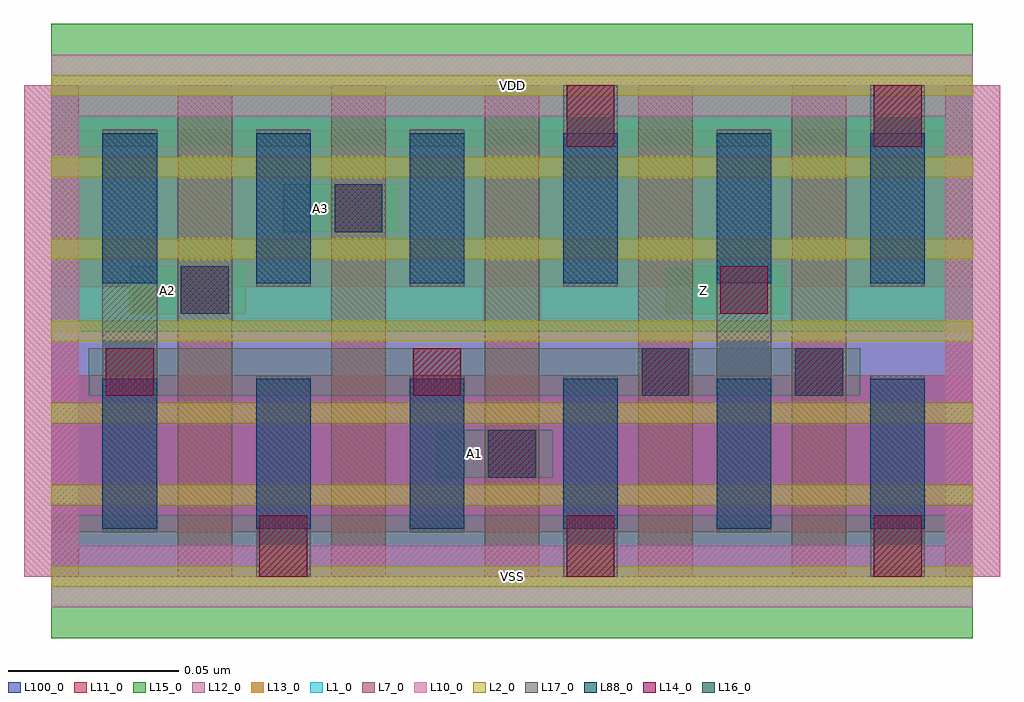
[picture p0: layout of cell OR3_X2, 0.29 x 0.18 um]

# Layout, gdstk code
import gdstk
lib = gdstk.Library(unit=1e-6, precision=1e-09)
def R(c, l, rs):  # rectangles x0, y0, x1, y1
    for r in rs: c.add(gdstk.rectangle(r[:2], r[2:], *l))
def A(c, l, x, y, w, h, nx, ny, dx, dy):  # array of equal rectangles
    R(c, l, [(x+i*dx, y+j*dy, x+i*dx+w, y+j*dy+h) for i in range(nx) for j in range(ny)])
def P(c, l, *ps):  # polygons
    for p in ps: c.add(gdstk.Polygon(p, *l))
L1_0 = (1, 0)
L2_0 = (2, 0)
L7_0 = (7, 0)
L10_0 = (10, 0)
L11_0 = (11, 0)
L12_0 = (12, 0)
L13_0 = (13, 0)
L14_0 = (14, 0)
L15_0 = (15, 0)
L16_0 = (16, 0)
L17_0 = (17, 0)
L88_0 = (88, 0)
L100_0 = (100, 0)

or3_x2 = lib.new_cell('OR3_X2')
R(or3_x2, L1_0, [(0,0.072,0.27,0.144)])
A(or3_x2, L2_0, 0, -0.003, 0.27, 0.006, 1, 7, 0, 0.024)
A(or3_x2, L7_0, -0.008, 0, 0.016, 0.144, 7, 1, 0.045, 0)
P(or3_x2, L10_0, [(0,-0.009),(0,0),(-0.008,0),(-0.008,0.135),(0.008,0.135),(0.008,0.009),(0.262,0.009),(0.262,0.135),(-0.008,0.135),(-0.008,0.144),(0,0.144),(0,0.153),(0.27,0.153),(0.27,0.144),(0.278,0.144),(0.278,0),(0.27,0),(0.27,-0.009)])
R(or3_x2, L11_0, [(0,0.013,0.27,0.059), (0,0.085,0.27,0.131)])
R(or3_x2, L12_0, [(0,0,0.27,0.072)])
R(or3_x2, L13_0, [(0,0.072,0.27,0.144)])
A(or3_x2, L14_0, 0.061, 0, 0.014, 0.018, 3, 1, 0.09, 0)
R(or3_x2, L14_0, [(0.128,0.029,0.142,0.043), (0.016,0.053,0.03,0.067), (0.106,0.053,0.12,0.067), (0.173,0.053,0.187,0.067), (0.218,0.053,0.232,0.067), (0.038,0.077,0.052,0.091), (0.196,0.077,0.21,0.091), (0.083,0.101,0.097,0.115), (0.151,0.126,0.165,0.144), (0.241,0.126,0.255,0.144)])
R(or3_x2, L15_0, [(0,-0.018,0.27,0.018), (0.113,0.029,0.147,0.043), (0.011,0.053,0.237,0.067), (0.023,0.077,0.057,0.091), (0.18,0.077,0.215,0.091), (0.068,0.101,0.102,0.115), (0,0.126,0.27,0.162)])
R(or3_x2, L16_0, [(0.128,0.029,0.142,0.043), (0.173,0.053,0.187,0.067), (0.218,0.053,0.232,0.067), (0.038,0.077,0.052,0.091), (0.083,0.101,0.097,0.115)])
A(or3_x2, L17_0, 0.06, 0, 0.016, 0.059, 3, 1, 0.09, 0)
R(or3_x2, L17_0, [(0.015,0.013,0.031,0.131), (0.105,0.013,0.121,0.059), (0.195,0.013,0.211,0.131), (0.06,0.085,0.076,0.131), (0.105,0.085,0.121,0.131), (0.15,0.085,0.166,0.144), (0.24,0.085,0.256,0.144)])
A(or3_x2, L88_0, 0.015, 0.014, 0.016, 0.044, 6, 2, 0.045, 0.072)
R(or3_x2, L100_0, [(0,0,0.27,0.144)])
or3_x2.add(gdstk.Label('A3', (0.079,0.108), layer=15, texttype=251))
or3_x2.add(gdstk.Label('VSS', (0.135,0), layer=15, texttype=251))
or3_x2.add(gdstk.Label('VDD', (0.135,0.144), layer=15, texttype=251))
or3_x2.add(gdstk.Label('A2', (0.034,0.084), layer=15, texttype=251))
or3_x2.add(gdstk.Label('VSS', (0.135,0), layer=15, texttype=251))
or3_x2.add(gdstk.Label('VDD', (0.135,0.144), layer=15, texttype=251))
or3_x2.add(gdstk.Label('A1', (0.124,0.036), layer=15, texttype=251))
or3_x2.add(gdstk.Label('VSS', (0.135,0), layer=15, texttype=251))
or3_x2.add(gdstk.Label('VDD', (0.135,0.144), layer=15, texttype=251))
or3_x2.add(gdstk.Label('Z', (0.191,0.084), layer=15, texttype=251))
or3_x2.add(gdstk.Label('VSS', (0.135,0), layer=15, texttype=251))
or3_x2.add(gdstk.Label('VDD', (0.135,0.144), layer=15, texttype=251))
or3_x2.add(gdstk.Label('VSS', (0.135,0), layer=3, texttype=251))
or3_x2.add(gdstk.Label('VSS', (0.135,0), layer=3, texttype=251))
or3_x2.add(gdstk.Label('VSS', (0.135,0), layer=3, texttype=251))
or3_x2.add(gdstk.Label('VSS', (0.135,0), layer=3, texttype=251))
or3_x2.add(gdstk.Label('VDD', (0.135,0.144), layer=1, texttype=251))
or3_x2.add(gdstk.Label('VDD', (0.135,0.144), layer=1, texttype=251))
or3_x2.add(gdstk.Label('VDD', (0.135,0.144), layer=1, texttype=251))
or3_x2.add(gdstk.Label('VDD', (0.135,0.144), layer=1, texttype=251))

lib.write_gds('OR3_X2.gds')
